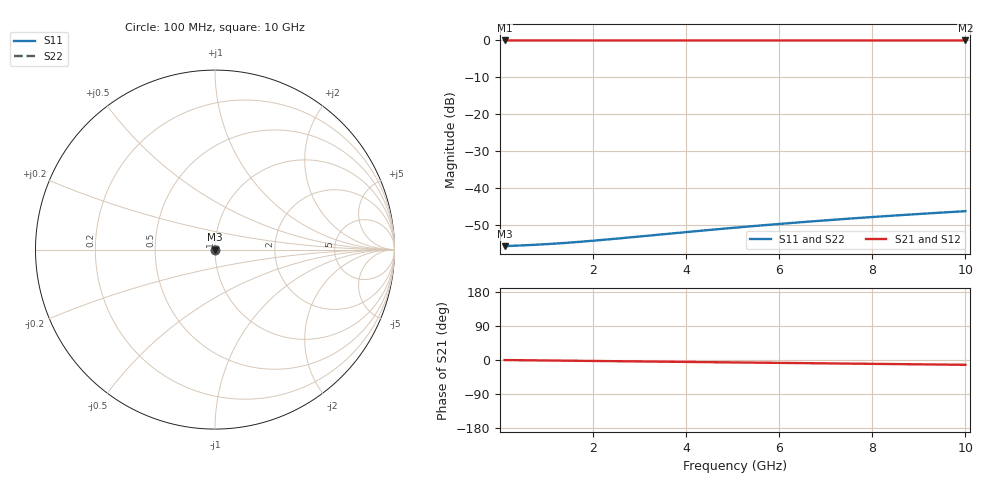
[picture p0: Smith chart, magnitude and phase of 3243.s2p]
# Hz S RI R 50.00
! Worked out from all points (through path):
!   100 points, 100 MHz to 10 GHz, reference 50 ohm
!   highest |S21| = -0.01 dB at 100 MHz (marker M1); lowest = 0.0 dB at 10 GHz (marker M2)
!   group delay of S21, straight-line fit = 3.53 ps
!   lowest |S11| = -55.9 dB at 100 MHz (marker M3), VSWR 1.00, Z = 50.2 + j0.00431 ohm
!   |S11| at or under -10 dB: start of sweep to end of sweep
!   |S22| runs from -55.9 to -46.4 dB; largest |S21 - S12| = 0
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1e8  0.00161 4.3e-05  0.9984 -0.00221  0.9984 -0.00221  0.00161 4.3e-05
7e8  0.00165 0.0003  0.9982 -0.0154  0.9982 -0.0154  0.00165 0.0003
1e9  0.00166 0.000428  0.9981 -0.0221  0.9981 -0.0221  0.00166 0.000428
1.2e9  0.00167 0.000513  0.998 -0.0265  0.998 -0.0265  0.00167 0.000513
1.4e9  0.00168 0.000598  0.9978 -0.0309  0.9978 -0.0309  0.00168 0.000598
1.8e9  0.0017 0.000768  0.9975 -0.0397  0.9975 -0.0397  0.0017 0.000768
2.1e9  0.00171 0.000894  0.9972 -0.0463  0.9972 -0.0463  0.00171 0.000894
2.4e9  0.00173 0.00102  0.9969 -0.0529  0.9969 -0.0529  0.00173 0.00102
2.8e9  0.00175 0.00119  0.9964 -0.0617  0.9964 -0.0617  0.00175 0.00119
3.4e9  0.0018 0.00144  0.9954 -0.0749  0.9954 -0.0749  0.0018 0.00144
4.3e9  0.00187 0.00181  0.9937 -0.0948  0.9937 -0.0948  0.00187 0.00181
5.1e9  0.00195 0.00213  0.9919 -0.1123  0.9919 -0.1123  0.00195 0.00213
5.5e9  0.00199 0.00229  0.9908 -0.1211  0.9908 -0.1211  0.00199 0.00229
5.9e9  0.00204 0.00245  0.9897 -0.1299  0.9897 -0.1299  0.00204 0.00245
6.3e9  0.00208 0.0026  0.9885 -0.1387  0.9885 -0.1387  0.00208 0.0026
6.7e9  0.00214 0.00276  0.9872 -0.1474  0.9872 -0.1474  0.00214 0.00276
7.1e9  0.00219 0.00292  0.9858 -0.1562  0.9858 -0.1562  0.00219 0.00292
7.5e9  0.00225 0.00307  0.9844 -0.1649  0.9844 -0.1649  0.00225 0.00307
7.9e9  0.00231 0.00322  0.9829 -0.1737  0.9829 -0.1737  0.00231 0.00322
8.4e9  0.00239 0.00341  0.9809 -0.1846  0.9809 -0.1846  0.00239 0.00341
9.2e9  0.00252 0.0037  0.9774 -0.202  0.9774 -0.202  0.00252 0.0037
1e10  0.00267 0.00399  0.9736 -0.2193  0.9736 -0.2193  0.00267 0.00399
